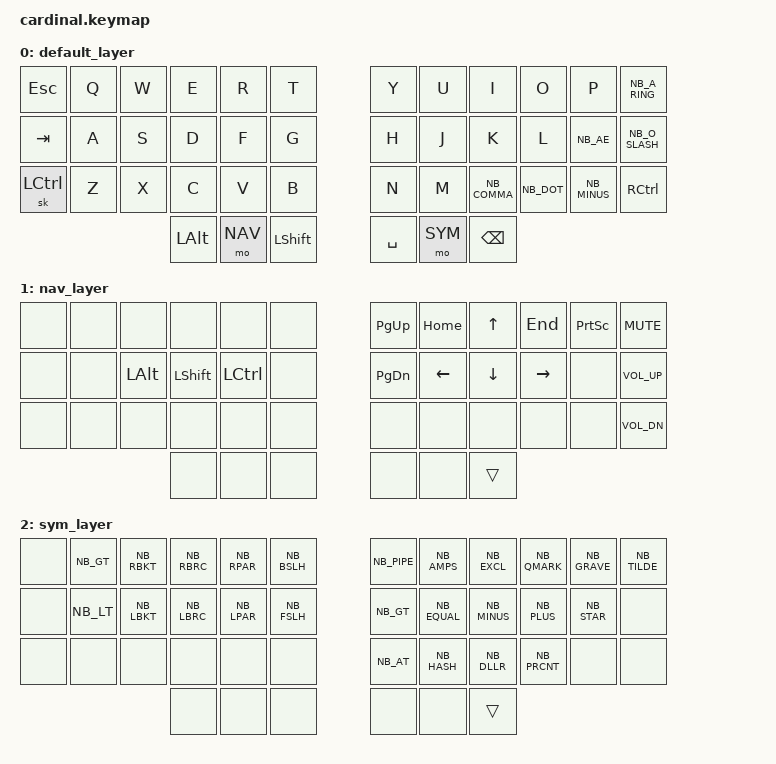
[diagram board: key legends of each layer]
#include <behaviors.dtsi>
#include <dt-bindings/zmk/keys.h>
#include <dt-bindings/zmk/bt.h>

#include "keys_nb.h"
#include "zmk-helpers/key-labels/34.h"

/*                                      42 KEY MATRIX / LAYOUT MAPPING

  ╭────────────────────────┬────────────────────────╮ ╭─────────────────────────┬─────────────────────────╮
  │  0   1   2   3   4   5 │  6   7   8   9  10  11 │ │ LT5 LT4 LT3 LT2 LT1 LT0 │ RT0 RT1 RT2 RT3 RT4 RT5 │
  │ 12  13  14  15  16  17 │ 18  19  20  21  22  23 │ │ LM5 LM4 LM3 LM2 LM1 LM0 │ RM0 RM1 RM2 RM3 RM4 RM5 │
  │ 24  25  26  27  28  29 │ 30  31  32  33  34  35 │ │ LB5 LB4 LB3 LB2 LB1 LB0 │ RB0 RB1 RB2 RB3 RB4 RB5 │
  ╰───────────╮ 36  37  38 │ 39  40  41 ╭───────────╯ ╰───────────╮ LH2 LH1 LH0 │ RH0 RH1 RH2 ╭───────────╯
              ╰────────────┴────────────╯                         ╰─────────────┴─────────────╯             */

#define DEFAULT 0
#define NAV   1
#define SYM   2

/ {
     combos {
          compatible = "zmk,combos";

          combo_capsword {
               timeout-ms = <50>;
               key-positions = <RM3 LM3>;
               bindings = <&caps_word>;
          };
          combo_single_quote {
               timeout-ms = <50>;
               key-positions = <RT1 RT3>;
               bindings = <&kp NB_APOS>;
          };
          combo_double_quote {
               timeout-ms = <50>;
               key-positions = <LT1 LT3>;
               bindings = <&kp NB_DQT>;
          };
          combo_colon {
               timeout-ms = <50>;
               key-positions = <RM1 RM3>;
               bindings = <&kp NB_COLON>;
          };
          combo_semicolon {
               timeout-ms = <50>;
               key-positions = <LT1 LT3>;
               bindings = <&kp NB_SEMI>;
          };
          combo_underscore {
               timeout-ms = <50>;
               key-positions = <RB1 RB3>;
               bindings = <&kp NB_UNDER>;
          };
          combo_escape {
               timeout-ms = <50>;
               key-positions = <LT2 LT3>;
               bindings = <&kp ESC>;
          };
          combo_tab {
               timeout-ms = <50>;
               key-positions = <LM2 LM3>;
               bindings = <&kp TAB>;
          };
          combo_delete {
               timeout-ms = <50>;
               key-positions = <RT2 RT3>;
               bindings = <&kp DEL>;
          };
          combo_enter {
               timeout-ms = <50>;
               key-positions = <RM2 RM3>;
               bindings = <&kp ENTER>;
          };
          // +bootloader
     };


    keymap {
        compatible = "zmk,keymap";
        
        default_layer {
            bindings = <
        // ╭─────────────┬─────────────┬─────────────┬─────────────┬─────────────┬─────────────╮   ╭─────────────┬─────────────┬─────────────┬─────────────┬─────────────┬─────────────╮
             &kp ESC       &kp Q         &kp W         &kp E         &kp R         &kp T             &kp Y         &kp U         &kp I         &kp O         &kp P        &kp NB_A_RING
        // ├─────────────┼─────────────┼─────────────┼─────────────┼─────────────┼─────────────┤   ├─────────────┼─────────────┼─────────────┼─────────────┼─────────────┼─────────────┤
             &kp TAB       &kp A         &kp S         &kp D         &kp F         &kp G             &kp H         &kp J         &kp K         &kp L         &kp NB_AE    &kp NB_O_SLASH
        // ├─────────────┼─────────────┼─────────────┼─────────────┼─────────────┼─────────────┤   ├─────────────┼─────────────┼─────────────┼─────────────┼─────────────┼─────────────┤
             &sk LCTRL     &kp Z         &kp X         &kp C         &kp V         &kp B             &kp N         &kp M         &kp NB_COMMA  &kp NB_DOT    &kp NB_MINUS  &kp RCTRL
        // ╰─────────────┼─────────────┼─────────────┼─────────────┼─────────────┼─────────────┤   ├─────────────┼─────────────┼─────────────┼─────────────┼─────────────┼─────────────╯
                                                       &kp LALT      &mo NAV       &kp LSHFT         &kp SPACE     &mo SYM       &kp BSPC
        //                                           ╰─────────────┴─────────────┴─────────────╯   ╰─────────────┴─────────────┴─────────────╯

            >;
        };

        nav_layer {
            bindings = <
        // ╭─────────────┬─────────────┬─────────────┬─────────────┬─────────────┬─────────────╮   ╭─────────────┬─────────────┬─────────────┬─────────────┬─────────────┬─────────────╮
             &none         &none         &none         &none         &none         &none             &kp PG_UP      &kp HOME     &kp UP        &kp END       &kp PSCRN     &kp C_MUTE
        // ├─────────────┼─────────────┼─────────────┼─────────────┼─────────────┼─────────────┤   ├─────────────┼─────────────┼─────────────┼─────────────┼─────────────┼─────────────┤
             &none         &none         &kp LALT      &kp LSHFT     &kp LCTRL     &none             &kp PG_DN      &kp LEFT     &kp DOWN      &kp RIGHT     &none         &kp C_VOL_UP
        // ├─────────────┼─────────────┼─────────────┼─────────────┼─────────────┼─────────────┤   ├─────────────┼─────────────┼─────────────┼─────────────┼─────────────┼─────────────┤
             &none         &none         &none         &none         &none         &none             &none          &none        &none         &none         &none         &kp C_VOL_DN
        // ╰─────────────┼─────────────┼─────────────┼─────────────┼─────────────┼─────────────┤   ├─────────────┼─────────────┼─────────────┼─────────────┼─────────────┼─────────────╯
                                                       &none         &none         &none             &none         &none         &trans
        //                                           ╰─────────────┴─────────────┴─────────────╯   ╰─────────────┴─────────────┴─────────────╯

            >;
        };

        sym_layer {
            bindings = <
        // ╭─────────────┬─────────────┬─────────────┬─────────────┬─────────────┬─────────────╮   ╭─────────────┬─────────────┬─────────────┬─────────────┬─────────────┬─────────────╮
             &none         &kp NB_GT     &kp NB_RBKT   &kp NB_RBRC   &kp NB_RPAR   &kp NB_BSLH       &kp NB_PIPE   &kp NB_AMPS   &kp NB_EXCL   &kp NB_QMARK  &kp NB_GRAVE  &kp NB_TILDE
        // ├─────────────┼─────────────┼─────────────┼─────────────┼─────────────┼─────────────┤   ├─────────────┼─────────────┼─────────────┼─────────────┼─────────────┼─────────────┤
             &none         &kp NB_LT     &kp NB_LBKT   &kp NB_LBRC   &kp NB_LPAR   &kp NB_FSLH       &kp NB_GT     &kp NB_EQUAL  &kp NB_MINUS  &kp NB_PLUS   &kp NB_STAR   &none
        // ├─────────────┼─────────────┼─────────────┼─────────────┼─────────────┼─────────────┤   ├─────────────┼─────────────┼─────────────┼─────────────┼─────────────┼─────────────┤
             &none         &none         &none         &none         &none         &none             &kp NB_AT     &kp NB_HASH   &kp NB_DLLR   &kp NB_PRCNT  &none         &none
        // ╰─────────────┼─────────────┼─────────────┼─────────────┼─────────────┼─────────────┤   ├─────────────┼─────────────┼─────────────┼─────────────┼─────────────┼─────────────╯
                                                       &none         &none         &none             &none         &none         &trans
        //                                           ╰─────────────┴─────────────┴─────────────╯   ╰─────────────┴─────────────┴─────────────╯

            >;
        };
    };
};




                                              
